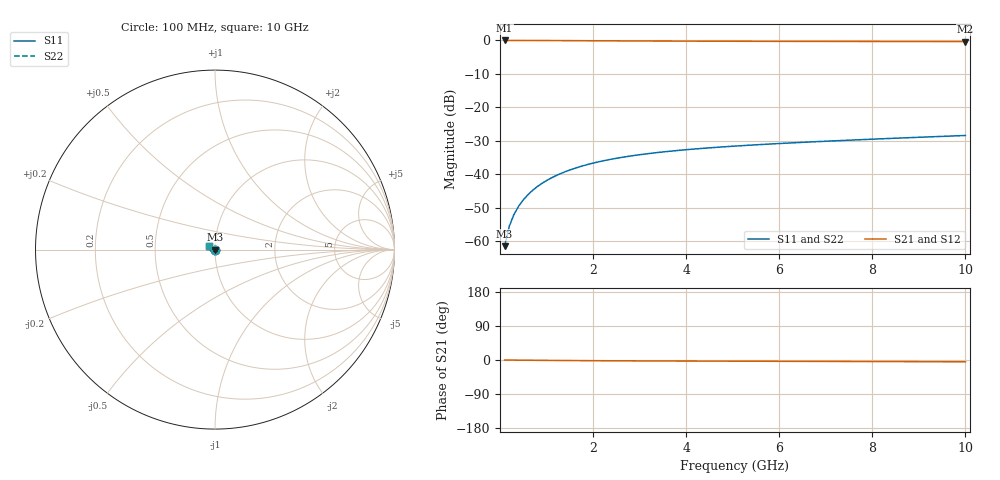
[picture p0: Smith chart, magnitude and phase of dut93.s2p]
! Touchstone file exported from HFSS 2024.1.0
!  File:  C:/UserFiles/LocalFiles/RDL_TSV_Batchsim/temp_TSV1_93_1779376263.aedt
!  Generated:  11:16:47 PM May 21, 2026
!  Design:  TSV1
!  Project:  temp_TSV1_93_1779376263
!  Setup:  Setup1
!  Solution:  Sweep
! Variables:
!  dtsv = 8.62um
!  hbump = 3um
!  htsv = 68.79um
!  lrdl = 252.1521522um
!  p = 40
!  p1 = 58.24um
!  t = 500um
!  trdl = 3um
!  wrdl = 24.89489489um
# GHz S MA R 50.000000
! Terminal data exported
! Port[1] = TSV22_T1
! Port[2] = TSV22_T2
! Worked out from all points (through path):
!   100 points, 100 MHz to 10 GHz, reference 50 ohm
!   highest |S21| = 0.00 dB at 100 MHz (marker M1); lowest = -0.3 dB at 10 GHz (marker M2)
!   lowest |S11| = -61.4 dB at 100 MHz (marker M3), VSWR 1.00, Z = 50 - j0.0836 ohm
!   |S11| at or under -10 dB: start of sweep to end of sweep
!   |S22| runs from -61.4 to -28.4 dB; largest |S21 - S12| = 1.3e-14
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0.1  0.0008476 -80.2  0.9998 -0.1  0.9998 -0.1  0.0008476 -80.2
! Gamma 0 0 0 0
! Port Impedance 50 0 50 0
0.2  0.001676 -88.2  0.9997 -0.2  0.9997 -0.2  0.001676 -88.2
0.3  0.002508 -92.5  0.9995 -0.3  0.9995 -0.3  0.002508 -92.5
0.4  0.003334 -95.8  0.9993 -0.4  0.9993 -0.4  0.003334 -95.8
0.5  0.004153 -98.6  0.999 -0.5  0.999 -0.5  0.004153 -98.6
0.6  0.004963 -101.3  0.9986 -0.6  0.9986 -0.6  0.004963 -101.3
0.7  0.005763 -103.8  0.9982 -0.7  0.9982 -0.7  0.005763 -103.8
0.8  0.00655 -106.2  0.9977 -0.8  0.9977 -0.8  0.00655 -106.2
0.9  0.007323 -108.5  0.9972 -0.9  0.9972 -0.9  0.007323 -108.5
1.1  0.008825 -113.0  0.9961 -1.1  0.9961 -1.1  0.008825 -113.0
1.4  0.01095 -119.3  0.9941 -1.4  0.9941 -1.4  0.01095 -119.3
1.6  0.01228 -123.4  0.9927 -1.5  0.9927 -1.5  0.01228 -123.4
1.8  0.01354 -127.2  0.9913 -1.7  0.9913 -1.7  0.01354 -127.2
2.1  0.01529 -132.8  0.9891 -1.9  0.9891 -1.9  0.01529 -132.8
2.5  0.01738 -139.7  0.9862 -2.1  0.9862 -2.1  0.01738 -139.7
2.9  0.01923 -146.0  0.9834 -2.3  0.9834 -2.3  0.01923 -146.0
3.4  0.02126 -153.2  0.9803 -2.5  0.9803 -2.5  0.02126 -153.2
4.2  0.024 -163.3  0.9761 -2.8  0.9761 -2.8  0.024 -163.3
5.1  0.02659 -173.0  0.9724 -3.1  0.9724 -3.1  0.02659 -173.0
6.7  0.03057 173.1  0.9679 -3.6  0.9679 -3.6  0.03057 173.1
8.4  0.03446 161.4  0.9648 -4.2  0.9648 -4.2  0.03446 161.4
10  0.03809 152.6  0.9628 -4.7  0.9628 -4.7  0.03809 152.6
